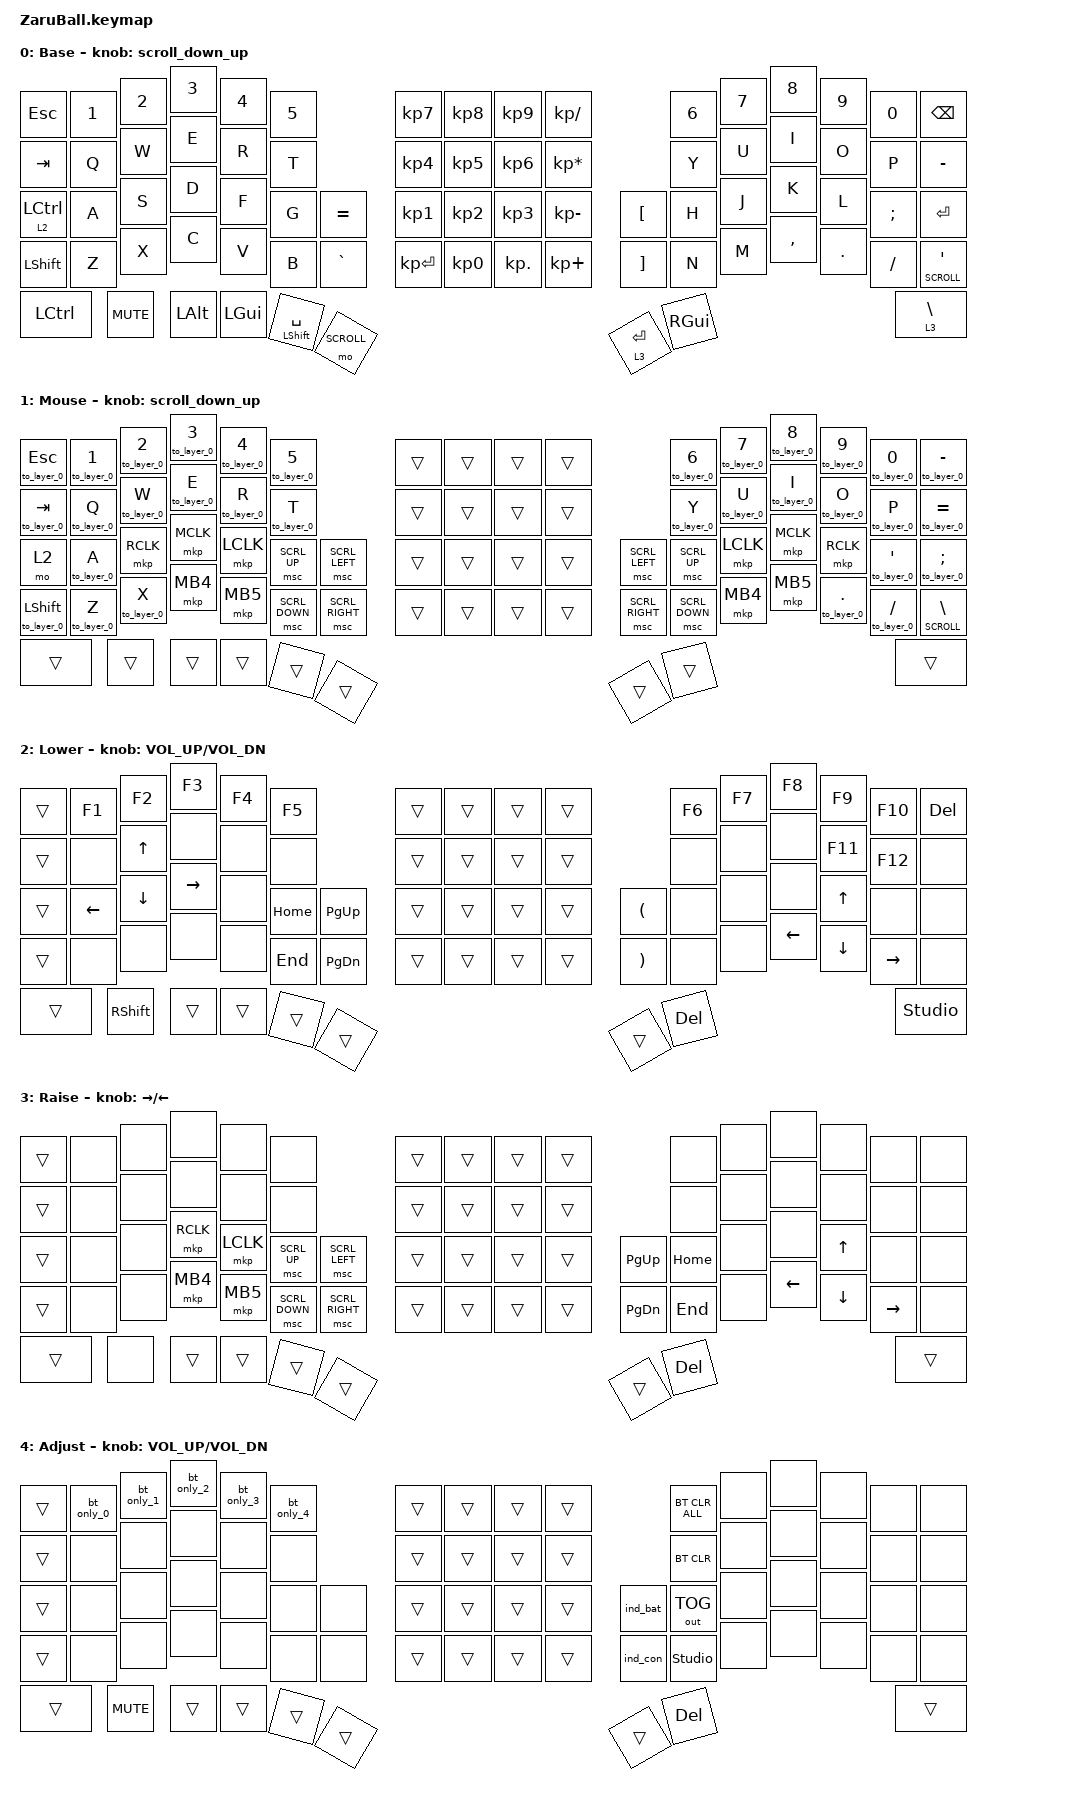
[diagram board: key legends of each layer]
//#include <dt-bindings/zmk/mouse.h>

#include <behaviors/rgbled_widget.dtsi>
#include <input/processors.dtsi>
#include <dt-bindings/zmk/input_transform.h>
#include <behaviors.dtsi>
#include <dt-bindings/zmk/bt.h>
#include <dt-bindings/zmk/keys.h>
#include <dt-bindings/zmk/outputs.h>
#include <dt-bindings/zmk/pointing.h>

#define BASE     0
#define MOUSE    1
#define LOWER    2
#define RAISE    3
#define ADJUST   4
#define SCROLL   2

// スクロール量の設定

#define ZMK_POINTING_DEFAULT_SCRL_VAL 100

&trackball_listener {
    input-processors = <
                         &zip_xy_transform (INPUT_TRANSFORM_XY_SWAP | INPUT_TRANSFORM_Y_INVERT | INPUT_TRANSFORM_X_INVERT)
                         &zip_xy_scaler 1 2
                         // &zip_temp_layer MOUSE 500
    >;

    scroller {
        layers = <SCROLL>;
        input-processors = <
                            &zip_xy_transform (INPUT_TRANSFORM_XY_SWAP | INPUT_TRANSFORM_X_INVERT)
                            &zip_xy_scaler 1 40
                            &zip_xy_to_scroll_mapper
        >;
    };
};

/ {
    conditional_layers {
        compatible = "zmk,conditional-layers";

        tri_layer {
            if-layers = <2 3>;
            then-layer = <4>;
        };
    };
};

/ {
    behaviors {
        // スクロール用のbehaviorの設定

        scroll_down_up: behavior_sensor_rotate_mouse_wheel_down_up {
            compatible = "zmk,behavior-sensor-rotate";
            #sensor-binding-cells = <0>;
            bindings = <&msc SCRL_DOWN>, <&msc SCRL_UP>;

            tap-ms = <20>; // スクロールのタップ時間
        };

        td0: tap_dance_0 {
            compatible = "zmk,behavior-tap-dance";
            #binding-cells = <0>;
            tapping-term-ms = <200>;
            bindings = <&mt LALT LANG2>, <&mo RAISE>, <&mo MOUSE>;
        };

        td1: tap_dance_1 {
            compatible = "zmk,behavior-tap-dance";
            #binding-cells = <0>;
            tapping-term-ms = <200>;
            bindings = <&mt RCTL LANG1>, <&mo RAISE>, <&mo MOUSE>;
        };

        // Customed Hold-Tap for SandS

        SandS: SandS {
            compatible = "zmk,behavior-hold-tap";
            #binding-cells = <2>;
            flavor = "tap-unless-interrupted";
            tapping-term-ms = <500>;
            quick-tap-ms = <500>;
            bindings = <&kp>, <&kp>;

            display-name = "SandS";
        };
    };
};

&sl { release-after-ms = <250>; }; // time needed for double click (for mkp_exit_AML)
/ {
    macros {
        // When in AML, move to default layer when key (except mouse button) pressed

        to_layer_0: to_layer_0 {
            compatible = "zmk,behavior-macro-one-param";
            #binding-cells = <1>;
            bindings = <&tog MOUSE &macro_param_1to1 &kp MACRO_PLACEHOLDER>;
            label = "TO_layer_0";
        };

        // When LCLK pressed, exit AML (after 250ms cause by sticky layer

        mkp_exit_AML: mkp_exit_AML {
            compatible = "zmk,behavior-macro-one-param";
            #binding-cells = <1>;
            bindings =
                <&macro_press>,
                <&macro_param_1to1 &mkp MACRO_PLACEHOLDER>,
                <&macro_pause_for_release>,
                <&macro_release>,
                <&macro_param_1to1 &mkp MACRO_PLACEHOLDER>,
                <&macro_tap>,
                <&sl MOUSE>;

            label = "MKP_EXIT_AML";
        };

        // プロファイルを選択し、他のホストへの接続を切断する
        // （操作していない機器を起こさないため）

        bt_only_0: bt_only_0 {
            compatible = "zmk,behavior-macro";
            #binding-cells = <0>;
            wait-ms = <30>;
            tap-ms = <10>;
            bindings = <&bt BT_SEL 0>,
                       <&bt BT_DISC 1>, <&bt BT_DISC 2>, <&bt BT_DISC 3>, <&bt BT_DISC 4>;
            label = "BT_ONLY_0";
        };

        bt_only_1: bt_only_1 {
            compatible = "zmk,behavior-macro";
            #binding-cells = <0>;
            wait-ms = <30>;
            tap-ms = <10>;
            bindings = <&bt BT_SEL 1>,
                       <&bt BT_DISC 0>, <&bt BT_DISC 2>, <&bt BT_DISC 3>, <&bt BT_DISC 4>;
            label = "BT_ONLY_1";
        };

        bt_only_2: bt_only_2 {
            compatible = "zmk,behavior-macro";
            #binding-cells = <0>;
            wait-ms = <30>;
            tap-ms = <10>;
            bindings = <&bt BT_SEL 2>,
                       <&bt BT_DISC 0>, <&bt BT_DISC 1>, <&bt BT_DISC 3>, <&bt BT_DISC 4>;
            label = "BT_ONLY_2";
        };

        bt_only_3: bt_only_3 {
            compatible = "zmk,behavior-macro";
            #binding-cells = <0>;
            wait-ms = <30>;
            tap-ms = <10>;
            bindings = <&bt BT_SEL 3>,
                       <&bt BT_DISC 0>, <&bt BT_DISC 1>, <&bt BT_DISC 2>, <&bt BT_DISC 4>;
            label = "BT_ONLY_3";
        };

        bt_only_4: bt_only_4 {
            compatible = "zmk,behavior-macro";
            #binding-cells = <0>;
            wait-ms = <30>;
            tap-ms = <10>;
            bindings = <&bt BT_SEL 4>,
                       <&bt BT_DISC 0>, <&bt BT_DISC 1>, <&bt BT_DISC 2>, <&bt BT_DISC 3>;
            label = "BT_ONLY_4";
        };
    };
};

/ {
    combos {
        compatible = "zmk,combos";

        mouse_left {
            bindings = <&mkp LCLK>;
            key-positions = <45 46>;
            layers = <0 1 2>;
        };

        mouse_right {
            bindings = <&mkp RCLK>;
            key-positions = <46 47>;
            layers = <0 1 2>;
        };

        mouse_wheel_click {
            bindings = <&mkp MCLK>;
            key-positions = <45 46 47>;
            layers = <0 1 2>;
        };

        mouse_prev {
            bindings = <&mkp MB4>;
            key-positions = <63 64>;
            layers = <0 1 2>;
        };

        mouse_next {
            bindings = <&mkp MB5>;
            key-positions = <64 65>;
            layers = <0 1 2>;
        };

        delete {
            bindings = <&kp DELETE>;
            key-positions = <14 15>;
        };
    };

    keymap {
        compatible = "zmk,keymap";

        base_layer {
            display-name = "Base";
            sensor-bindings = <&scroll_down_up>;
            bindings = <
&kp ESC             &kp N1      &kp N2  &kp N3        &kp N4        &kp N5                            &kp KP_N7     &kp KP_N8  &kp KP_N9   &kp KP_DIVIDE                 &kp NUMBER_6   &kp N7  &kp N8     &kp N9   &kp N0    &kp BACKSPACE
&kp TAB             &kp Q       &kp W   &kp E         &kp R         &kp T                             &kp KP_N4     &kp KP_N5  &kp KP_N6   &kp KP_MULTIPLY               &kp Y          &kp U   &kp I      &kp O    &kp P     &kp MINUS
&lt 2 LEFT_CONTROL  &kp A       &kp S   &kp D         &kp F         &kp G               &kp EQUAL     &kp KP_N1     &kp KP_N2  &kp KP_N3   &kp KP_MINUS       &kp LBKT   &kp H          &kp J   &kp K      &kp L    &kp SEMI  &kp ENTER
&kp LSHFT           &kp Z       &kp X   &kp C         &kp V         &kp B               &kp GRAVE     &kp KP_ENTER  &kp KP_N0  &kp KP_DOT  &kp KP_PLUS        &kp RBKT   &kp N          &kp M   &kp COMMA  &kp DOT  &kp FSLH  &lt SCROLL SINGLE_QUOTE
&kp LEFT_CONTROL    &kp C_MUTE          &kp LEFT_ALT  &kp LEFT_GUI  &SandS LSHFT SPACE  &mo SCROLL                                                            &lt 3 RET  &kp RIGHT_GUI                                        &lt 3 BACKSLASH
            >;
        };

        mouse_layer {
            display-name = "Mouse";
            sensor-bindings = <&scroll_down_up>;
            bindings = <
&to_layer_0 ESC     &to_layer_0 N1  &to_layer_0 N2  &to_layer_0 N3  &to_layer_0 N4  &to_layer_0 N5                     &trans  &trans  &trans  &trans                     &to_layer_0 N6  &to_layer_0 N7  &to_layer_0 N8  &to_layer_0 N9      &to_layer_0 N0            &to_layer_0 MINUS
&to_layer_0 TAB     &to_layer_0 Q   &to_layer_0 W   &to_layer_0 E   &to_layer_0 R   &to_layer_0 T                      &trans  &trans  &trans  &trans                     &to_layer_0 Y   &to_layer_0 U   &to_layer_0 I   &to_layer_0 O       &to_layer_0 P             &to_layer_0 EQUAL
&mo 2               &to_layer_0 A   &mkp RCLK       &mkp MCLK       &mkp LCLK       &msc SCRL_UP    &msc SCRL_LEFT     &trans  &trans  &trans  &trans    &msc SCRL_LEFT   &msc SCRL_UP    &mkp LCLK       &mkp MCLK       &mkp RCLK           &to_layer_0 SINGLE_QUOTE  &to_layer_0 SEMICOLON
&to_layer_0 LSHIFT  &to_layer_0 Z   &to_layer_0 X   &mkp MB4        &mkp MB5        &msc SCRL_DOWN  &msc SCRL_RIGHT    &trans  &trans  &trans  &trans    &msc SCRL_RIGHT  &msc SCRL_DOWN  &mkp MB4        &mkp MB5        &to_layer_0 PERIOD  &to_layer_0 SLASH         &lt SCROLL BACKSLASH
&trans              &trans                          &trans          &trans          &trans          &trans                                               &trans           &trans                                                                                        &trans
            >;
        };

        lower_layer {
            display-name = "Lower";
            sensor-bindings = <&inc_dec_kp C_VOL_UP C_VOL_DN>;
            bindings = <
&trans  &kp F1          &kp F2          &kp F3           &kp F4  &kp F5                 &trans  &trans  &trans  &trans              &kp F6   &kp F7  &kp F8          &kp F9          &kp F10          &kp DEL
&trans  &none           &kp UP_ARROW    &none            &none   &none                  &trans  &trans  &trans  &trans              &none    &none   &none           &kp F11         &kp F12          &none
&trans  &kp LEFT_ARROW  &kp DOWN_ARROW  &kp RIGHT_ARROW  &none   &kp HOME  &kp PG_UP    &trans  &trans  &trans  &trans    &kp LPAR  &none    &none   &none           &kp UP_ARROW    &none            &none
&trans  &none           &none           &none            &none   &kp END   &kp PG_DN    &trans  &trans  &trans  &trans    &kp RPAR  &none    &none   &kp LEFT_ARROW  &kp DOWN_ARROW  &kp RIGHT_ARROW  &none
&trans  &kp RSHFT                       &trans           &trans  &trans    &trans                                         &trans    &kp DEL                                                           &studio_unlock
            >;
        };

        raise_layer {
            display-name = "Raise";
            sensor-bindings = <&inc_dec_kp RIGHT LEFT>;
            bindings = <
&trans  &none  &none  &none      &none      &none                              &trans  &trans  &trans  &trans               &none     &none  &none           &none           &none      &none
&trans  &none  &none  &none      &none      &none                              &trans  &trans  &trans  &trans               &none     &none  &none           &none           &none      &none
&trans  &none  &none  &mkp RCLK  &mkp LCLK  &msc SCRL_UP    &msc SCRL_LEFT     &trans  &trans  &trans  &trans    &kp PG_UP  &kp HOME  &none  &none           &kp UP_ARROW    &none      &none
&trans  &none  &none  &mkp MB4   &mkp MB5   &msc SCRL_DOWN  &msc SCRL_RIGHT    &trans  &trans  &trans  &trans    &kp PG_DN  &kp END   &none  &kp LEFT_ARROW  &kp DOWN_ARROW  &kp RIGHT  &none
&trans  &none         &trans     &trans     &trans          &trans                                               &trans     &kp DEL                                                     &trans
            >;
        };

        adjust_layer {
            display-name = "Adjust";
            sensor-bindings = <&inc_dec_kp C_VOL_UP C_VOL_DN>;
            bindings = <
&trans  &bt_only_0    &bt_only_1    &bt_only_2    &bt_only_3    &bt_only_4              &trans  &trans  &trans  &trans              &bt BT_CLR_ALL  &none  &none  &none  &none  &none
&trans  &none         &none         &none         &none         &none                   &trans  &trans  &trans  &trans              &bt BT_CLR      &none  &none  &none  &none  &none
&trans  &none         &none         &none         &none         &none         &none     &trans  &trans  &trans  &trans    &ind_bat  &out OUT_TOG    &none  &none  &none  &none  &none
&trans  &none         &none         &none         &none         &none         &none     &trans  &trans  &trans  &trans    &ind_con  &studio_unlock  &none  &none  &none  &none  &none
&trans  &kp C_MUTE                  &trans        &trans        &trans        &trans                                      &trans    &kp DEL                                     &trans
            >;
        };

        // Extra layer can be added in ZMK STUDIO

        extra1 { status = "reserved"; };

        extra2 { status = "reserved"; };
    };
};
